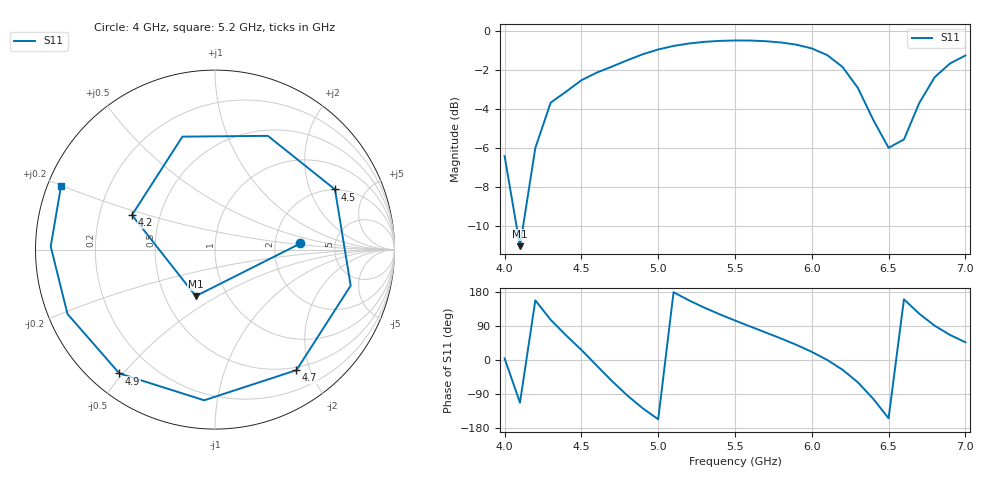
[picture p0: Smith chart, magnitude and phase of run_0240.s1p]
! Touchstone file exported from HFSS 2024.2.0
!  File:  C:/Users/wsak9/Desktop/Sim Fast/Widenad Patch/WP_AI_V1_sweep.aedt
!  Generated:  01:03:33 AM Oct 14, 2026
!  Design:  A1_model
!  Project:  WP_AI_V1_sweep
!  Setup:  Setup1
!  Solution:  Sweep
! Variables:
!  Air_gap = 4.07mm
!  Curve_Amp1 = 3.08
!  Curve_len1 = 1
!  Curve_pos = 13.495mm
!  Extra = 7.38mm
!  H_sub = 0.79mm
!  L_Patch = 22.99mm
!  L_Patch1 = 15.56mm
!  Sx = 4.81mm
!  Sy = 4.35mm
!  WS = 1.14mm
!  W_Patch = 21.51mm
!  W_Patch1 = 8.18mm
!Data is not renormalized
# GHz S MA
! Terminal data exported
! Port[1] = 1
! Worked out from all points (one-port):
!   31 points, 4 GHz to 7 GHz, reference per port
!   lowest |S11| = -11.0 dB at 4.1 GHz (marker M1), VSWR 1.78
!   |S11| at or under -10 dB: 4.077 GHz to 4.121 GHz (43.17 MHz wide, 1.05 % of centre)
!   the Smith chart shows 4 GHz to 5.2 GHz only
!   S11 on the Smith chart (normalised r, x): 4 GHz: 2.80, +0.25; 4.2 GHz: 0.34, +0.18; 4.5 GHz: 1.98, +3.02; 4.7 GHz: 0.46, -1.79; 4.9 GHz: 0.08, -0.49; 5.2 GHz: 0.04, +0.20
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4  0.4774 4.1
4.1  0.2805 -112.5
4.2  0.5012 157.4
4.3  0.655 106.1
4.4  0.6987 65.1
4.5  0.7477 26.6
4.6  0.7821 -14.9
4.7  0.8106 -56.0
4.8  0.8417 -94.1
4.9  0.8717 -127.7
5  0.8967 -156.4
5.1  0.9155 178.9
5.2  0.9288 157.4
5.3  0.9378 138.2
5.5  0.9457 104.2
5.7  0.9415 72.6
5.9  0.9224 39.9
6  0.9022 21.5
6.1  0.8675 0.2
6.2  0.8087 -25.7
6.3  0.7145 -58.9
6.4  0.5917 -102.4
6.5  0.5015 -153.8
6.6  0.527 160.2
6.7  0.6539 122.0
6.8  0.7612 90.5
6.9  0.8255 66.1
7  0.8651 46.8
